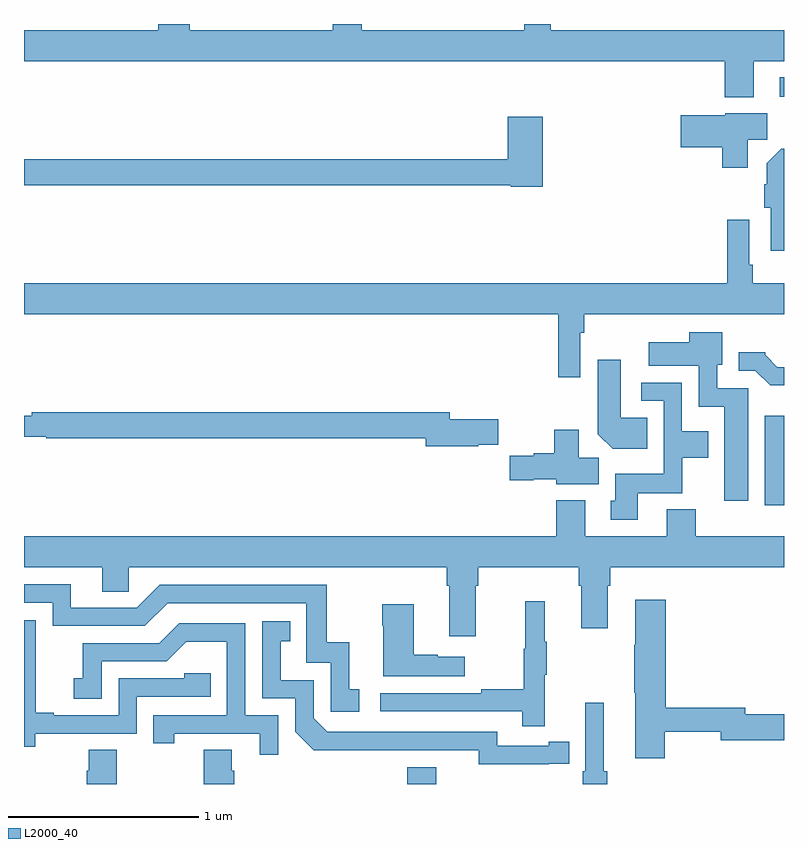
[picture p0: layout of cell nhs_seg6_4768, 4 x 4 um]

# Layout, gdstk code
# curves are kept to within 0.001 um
import gdstk
lib = gdstk.Library(unit=1e-6, precision=1e-09)
def R(c, l, rs):  # rectangles x0, y0, x1, y1
    for r in rs: c.add(gdstk.rectangle(r[:2], r[2:], *l))
def P(c, l, *ps):  # polygons
    for p in ps: c.add(gdstk.Polygon(p, *l))
L2000_40 = (2000, 40)

nhs_seg6_4768 = lib.new_cell('nhs_seg6_4768')
R(nhs_seg6_4768, L2000_40, [(395.018,975.5,395.17,975.589), (396.899,976.968,397,977.437), (396.977,979.116,397,979.219)])
P(nhs_seg6_4768, L2000_40, [(396.841,979.304),(397,979.304),(397,979.468),(395.772,979.468),(395.772,979.5),(395.633,979.5),(395.633,979.468),(394.777,979.468),(394.777,979.5),(394.625,979.5),(394.625,979.468),(393.872,979.468),(393.872,979.5),(393.707,979.5),(393.707,979.468),(393,979.468),(393,979.304),(396.689,979.304),(396.689,979.115),(396.841,979.115)],
  [(396.808,978.892),(396.913,978.892),(396.913,979.03),(396.69,979.03),(396.69,979.021),(396.456,979.021),(396.456,978.851),(396.674,978.851),(396.674,978.744),(396.808,978.744)],
  [(395.729,979.012),(395.546,979.012),(395.546,978.788),(393,978.788),(393,978.652),(395.562,978.652),(395.562,978.644),(395.729,978.644)],
  [(397,978.844),(396.986,978.844),(396.908,978.766),(396.908,978.656),(396.896,978.656),(396.896,978.534),(396.929,978.534),(396.929,978.306),(397,978.306)],
  [(395.928,977.876),(395.948,977.876),(395.948,977.972),(397,977.972),(397,978.136),(396.836,978.136),(396.836,978.232),(396.816,978.232),(396.816,978.469),(396.7,978.469),(396.7,978.136),(393,978.136),(393,977.972),(395.812,977.972),(395.812,977.64),(395.928,977.64)],
  [(396.811,977.583),(396.648,977.583),(396.648,977.706),(396.676,977.706),(396.676,977.878),(396.5,977.878),(396.5,977.824),(396.288,977.824),(396.288,977.702),(396.552,977.702),(396.552,977.486),(396.686,977.486),(396.686,976.992),(396.811,976.992)],
  [(397,977.694),(396.964,977.694),(396.9,977.758),(396.9,977.773),(396.761,977.773),(396.761,977.676),(396.849,977.676),(396.928,977.598),(397,977.598)],
  [(396.281,977.428),(396.142,977.428),(396.142,977.734),(396.02,977.734),(396.02,977.342),(396.098,977.264),(396.281,977.264)],
  [(396.229,977.03),(396.465,977.03),(396.465,977.216),(396.601,977.216),(396.601,977.356),(396.462,977.356),(396.462,977.613),(396.249,977.613),(396.249,977.517),(396.366,977.517),(396.366,977.134),(396.113,977.134),(396.113,976.992),(396.089,976.992),(396.089,976.89),(396.229,976.89)],
  [(395.39,977.286),(395.495,977.286),(395.495,977.42),(395.242,977.42),(395.242,977.456),(393.04,977.456),(393.04,977.437),(393,977.437),(393,977.328),(393.118,977.328),(393.118,977.32),(395.114,977.32),(395.114,977.278),(395.39,977.278)],
  [(396.025,977.216),(395.92,977.216),(395.92,977.365),(395.791,977.365),(395.791,977.24),(395.682,977.24),(395.682,977.228),(395.557,977.228),(395.557,977.098),(395.682,977.098),(395.682,977.105),(395.802,977.105),(395.802,977.078),(396.025,977.078)],
  [(393,976.64),(393.413,976.64),(393.413,976.513),(393.552,976.513),(393.552,976.64),(395.225,976.64),(395.225,976.544),(395.237,976.544),(395.237,976.278),(395.377,976.278),(395.377,976.544),(395.39,976.544),(395.39,976.64),(395.921,976.64),(395.921,976.544),(395.933,976.544),(395.933,976.32),(396.073,976.32),(396.073,976.544),(396.086,976.544),(396.086,976.64),(397,976.64),(397,976.804),(396.536,976.804),(396.536,976.945),(396.383,976.945),(396.383,976.804),(395.953,976.804),(395.953,976.993),(395.801,976.993),(395.801,976.804),(393,976.804)],
  [(394.765,975.999),(394.712,975.999),(394.712,976.246),(394.594,976.246),(394.594,976.548),(393.714,976.548),(393.594,976.428),(393.247,976.428),(393.247,976.551),(393,976.551),(393,976.455),(393.15,976.455),(393.15,976.332),(393.636,976.332),(393.756,976.452),(394.485,976.452),(394.485,976.137),(394.614,976.137),(394.614,975.879),(394.765,975.879)],
  [(396.372,975.774),(396.668,975.774),(396.668,975.731),(397,975.731),(397,975.866),(396.796,975.866),(396.796,975.902),(396.377,975.902),(396.377,976.471),(396.218,976.471),(396.218,976.232),(396.211,976.232),(396.211,975.979),(396.218,975.979),(396.218,975.636),(396.372,975.636)],
  [(395.741,976.075),(395.752,976.075),(395.752,976.249),(395.741,976.249),(395.741,976.462),(395.638,976.462),(395.638,976.212),(395.631,976.212),(395.631,975.998),(395.407,975.998),(395.407,975.978),(394.875,975.978),(394.875,975.882),(395.623,975.882),(395.623,975.804),(395.741,975.804)],
  [(395.32,976.171),(395.177,976.171),(395.177,976.181),(395.05,976.181),(395.05,976.447),(394.885,976.447),(394.885,976.334),(394.892,976.334),(394.892,976.067),(395.32,976.067)],
  [(393.06,975.765),(393.594,975.765),(393.594,975.96),(393.983,975.96),(393.983,976.083),(393.843,976.083),(393.843,976.056),(393.498,976.056),(393.498,975.861),(393.157,975.861),(393.157,975.874),(393.062,975.874),(393.062,976.157),(393.063,976.157),(393.063,976.363),(393,976.363),(393,975.697),(393.06,975.697)],
  [(395.762,975.606),(395.87,975.606),(395.87,975.722),(395.762,975.722),(395.762,975.702),(395.49,975.702),(395.49,975.774),(394.596,975.774),(394.524,975.846),(394.524,976.047),(394.351,976.047),(394.351,976.251),(394.4,976.251),(394.4,976.357),(394.254,976.357),(394.254,975.951),(394.428,975.951),(394.428,975.774),(394.526,975.677),(395.394,975.678),(395.394,975.605)],
  [(394.338,975.861),(394.164,975.861),(394.164,976.347),(393.818,976.347),(393.713,976.242),(393.31,976.242),(393.31,976.057),(393.261,976.057),(393.261,975.948),(393.408,975.948),(393.408,976.146),(393.75,976.146),(393.854,976.25),(394.068,976.25),(394.068,975.861),(393.679,975.861),(393.679,975.714),(393.79,975.714),(393.79,975.765),(394.241,975.765),(394.241,975.654),(394.338,975.654)],
  [(396.071,975.568),(396.052,975.568),(396.052,975.928),(395.955,975.928),(395.955,975.568),(395.942,975.568),(395.942,975.5),(396.071,975.5)],
  [(394.106,975.57),(394.093,975.57),(394.093,975.68),(393.946,975.68),(393.946,975.5),(394.106,975.5)],
  [(393.489,975.68),(393.341,975.68),(393.341,975.57),(393.329,975.57),(393.329,975.5),(393.489,975.5)])

lib.write_gds('nhs_seg6_4768.gds')
